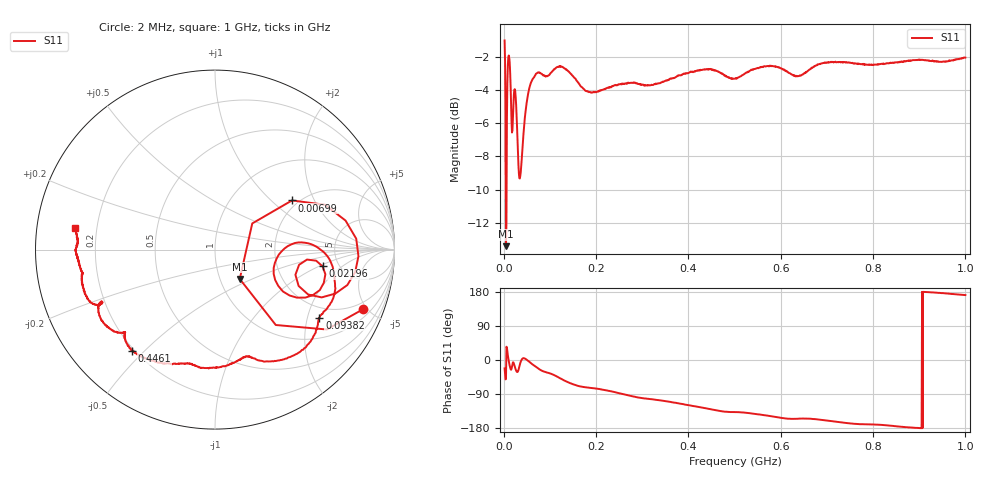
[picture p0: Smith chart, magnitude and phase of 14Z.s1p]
!Keysight Technologies N9923A: A.08.19
!Date: Thursday, 16 January 2020 11:30:00
!TimeZone: (GMT-03:00) Brasilia!Model: N9923A
!Serial: MY51491501
!GPS Latitude:
!GPS Longitude:
!GPS TimeStamp: 0001-01-01 00:00:00Z
!GPS Seconds Since Last Read: 0
!CHECKSUM:1078980270
!Correction: S11(ON U)
!S1P File: Measurement: S11:
# Hz S DB R 50
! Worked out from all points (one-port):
!   1001 points, 2 MHz to 1 GHz, reference 50 ohm
!   lowest |S11| = -13.4 dB at 4.994 MHz (marker M1), VSWR 1.54, Z = 62 - j21.3 ohm
!   |S11| at or under -10 dB: 4.573 MHz to 6.308 MHz (1.735 MHz wide, 31.9 % of centre)
!   S11 on the Smith chart (normalised r, x): 2 MHz: 1.49, -4.67; 6.99 MHz: 1.85, +1.37; 21.96 MHz: 3.73, -1.10; 93.82 MHz: 1.62, -2.38; 446.1 MHz: 0.19, -0.46; 1 GHz: 0.12, +0.07
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2000000  -1.04 -22.1
4994000  -13.39 -49.9
6990000  -5.87 32.6
9984000  -2.06 4.4
1.2978e7  -2.35 -15.0
1.5972e7  -4.79 -25.7
2.196e7  -4.34 -8.9
2.5952e7  -4.42 -24.9
2.8946e7  -6.23 -31.6
3.3936e7  -9.31 -17.3
3.9924e7  -7.82 2.8
4.5912e7  -5.65 3.8
5.4894e7  -3.97 -4.0
6.3876e7  -3.32 -12.9
7.8846e7  -2.98 -25.7
9.3816e7  -3.17 -33.1
1.2675e8  -2.62 -51.1
1.65672e8  -3.75 -69.6
2.515e8  -3.67 -88.0
3.7625e8  -3.16 -113.9
4.4611e8  -2.75 -129.3
5.01e8  -3.33 -137.4
5.8084e8  -2.58 -148.8
6.2575e8  -3.10 -155.5
6.76648e8  -2.54 -156.3
7.505e8  -2.37 -167.3
8.7525e8  -2.26 -177.5
1e9  -2.06 171.3
